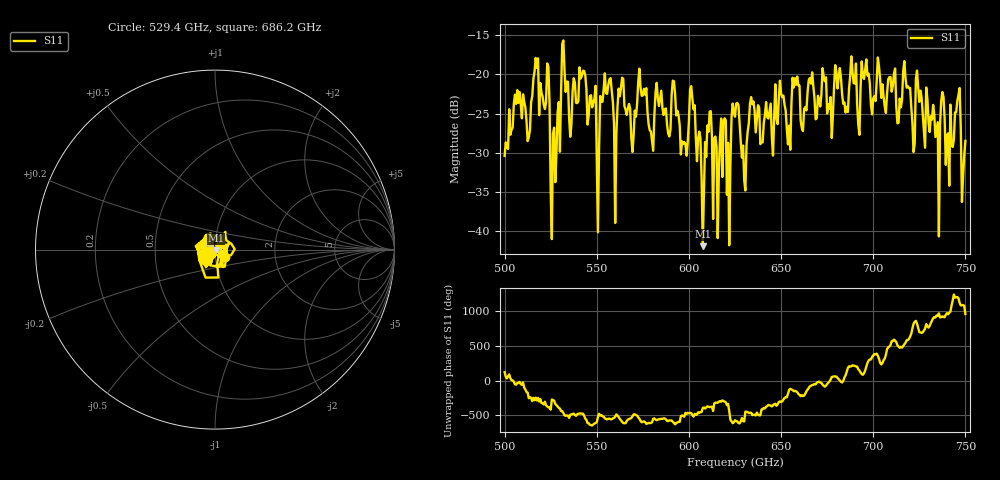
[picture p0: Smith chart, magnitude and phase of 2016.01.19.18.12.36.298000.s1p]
!Created with skrf (http://scikit-rf.org).
# GHz S RI R 50.0
!freq ReS11 ImS11
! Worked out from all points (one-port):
!   401 points, 500 GHz to 750 GHz, reference 50 ohm
!   lowest |S11| = -41.9 dB at 607.5 GHz (marker M1), VSWR 1.02, Z = 50.6 - j0.505 ohm
!   |S11| at or under -10 dB: start of sweep to end of sweep
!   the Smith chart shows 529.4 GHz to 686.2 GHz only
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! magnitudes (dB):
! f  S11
! 500 GHz  -30.4
! 506.9 GHz  -22.0
! 513.1 GHz  -28.0
! 516.9 GHz  -17.9
! 523.1 GHz  -18.6
! 526.2 GHz  -27.6
! 531.2 GHz  -16.1
! 542.5 GHz  -19.5
! 551.2 GHz  -29.4
! 553.1 GHz  -23.5
! 560 GHz  -39.0
! 562.5 GHz  -22.8
! 593.8 GHz  -24.6
! 598.1 GHz  -28.9
! 601.9 GHz  -23.1
! 607.5 GHz  -41.9
! 611.2 GHz  -24.7
! 614.4 GHz  -27.9
! 621.9 GHz  -41.8
! 625 GHz  -25.4
! 630 GHz  -33.5
! 634.4 GHz  -23.8
! 656.2 GHz  -20.4
! 687.5 GHz  -20.2
! 718.8 GHz  -21.5
! 735 GHz  -26.1
! 745.6 GHz  -23.4
! 750 GHz  -28.5
